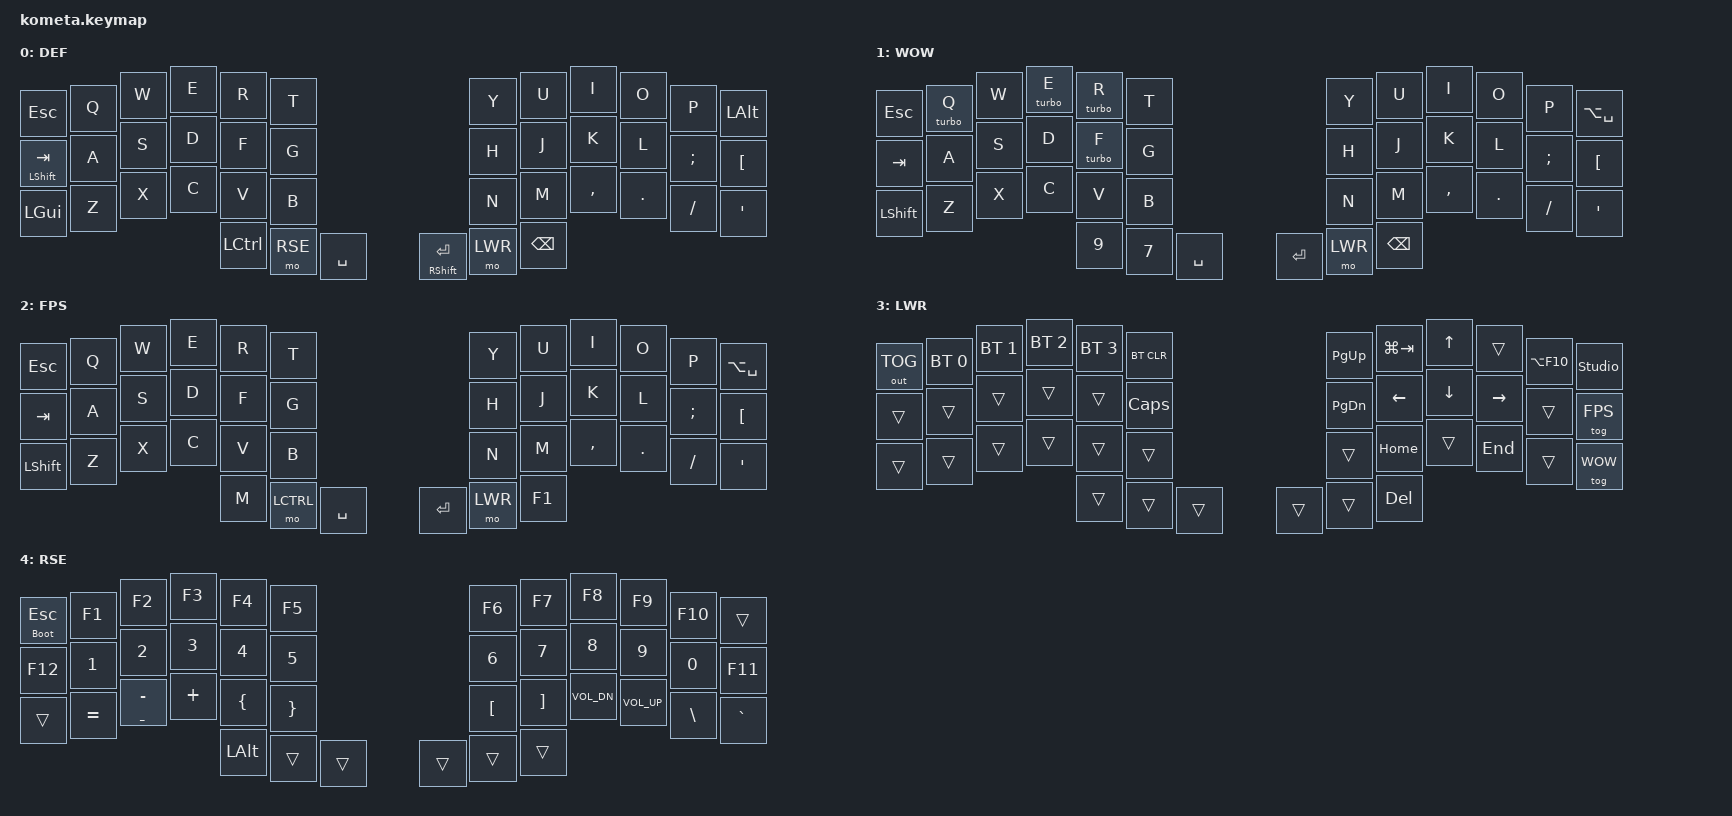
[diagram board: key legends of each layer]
 #include <behaviors.dtsi>
 #include <dt-bindings/zmk/bt.h>
 #include <dt-bindings/zmk/ext_power.h>
 #include <dt-bindings/zmk/keys.h>
 #include <dt-bindings/zmk/outputs.h>
 #include <dt-bindings/zmk/rgb.h>

 #define DEF 0
 #define WOW 1
 #define FPS 2
 #define LWR 3
 #define RSE 4

 &mt {
     flavor = "tap-preferred";
     tapping-term-ms = <140>;
 };

 / {
 };

 / {
    behaviors {
        mt: mod_tap {
            compatible = "zmk,behavior-hold-tap";
            #binding-cells = <2>;
            flavor = "hold-preferred";
            tapping-term-ms = <200>;
            bindings = <&kp>, <&kp>;
            display-name = "Mod-Tap";
        };

        hrm: hr {
            compatible = "zmk,behavior-hold-tap";
            label = "hrm";
            bindings = <&kp>, <&kp>;

            #binding-cells = <2>;
            tapping-term-ms = <200>;
            flavor = "balanced";
            quick-tap-ms = <150>;
        };

        boot_esc: boot_esc {
            compatible = "zmk,behavior-hold-tap";
            label = "boot_esc";
            /* hold: bootloader, tap: key */
            bindings = <&bootloader>, <&kp>;

            #binding-cells = <2>;
            tapping-term-ms = <3000>;
            flavor = "tap-preferred";
            quick-tap-ms = <150>;
        };
    };

    keymap {
        compatible = "zmk,keymap";
        // -----------------------------------------------------------------------------------------------------------------
        // |  ESC  |  Q   |  W   |  E   |  R   |  T   |-----------|-----------|   Y   |  U   |  I   |  O   |   P   |  LALT |
        // |  TAB  |  A   |  S   |  D   |  F   |  G   |-----------|-----------|   H   |  J   |  K   |  L   |   ;   |  LBKT |
        // | LGUI  |  Z   |  X   |  C   |  V   |  B   |-----------|-----------|   N   |  M   |  ,   |  .   |   /   |  SQT  |
        // -----------------------------|LCTRL | RSE  |  SPACE    | ENT/SHIFT | LWR   | BACKSPACE |-------------------------
        default_layer {
            label = "DEF";
            bindings = <
            &kp ESC         &kp Q  &kp W    &kp E    &kp R      &kp T                               &kp Y      &kp U         &kp I     &kp O     &kp P     &kp LALT
            &mt LSHIFT TAB  &kp A  &kp S    &kp D    &kp F      &kp G                               &kp H      &kp J         &kp K     &kp L     &kp SEMI  &kp LBKT
            &kp LGUI        &kp Z  &kp X    &kp C    &kp V      &kp B                               &kp N      &kp M         &kp COMMA &kp DOT   &kp FSLH  &kp SQT
                                                     &kp LCTRL  &mo RSE   &kp SPACE &mt RSHFT ENTER &mo LWR    &kp BACKSPACE
            >;
        };
        wow {
            label = "WOW";
            // ---------------------------------------------------------------------------------------------------------------
            // |  ESC  |  Q   |  W   |  E   |  R   |  T     |-------|-------|   Y   |  U    |  I   |  O   |   P   |  LBKT    |
            // | TAB   |  A   |  S   |  D   |  F   |  G     |-------|-------|   H   |  J    |  K   |  L   |   ;   |  SQT     |
            // | LSHFT |  Z   |  X   |  C   |  V   |  B     |-------|-------|   N   |  M    |  ,   |  .   |   /   | ENT/SHIFT|
            // -----------------------------|  N9  |  N7    | SPACE | ENTER | LOWER | BACKSPACE|-----------------------------
            bindings = <
                &kp ESC    &turbo Q  &kp W    &turbo E  &turbo R  &kp T                               &kp Y      &kp U          &kp I     &kp O     &kp P     &kp LA(SPACE)
                &kp TAB    &kp A     &kp S    &kp D     &turbo F  &kp G                               &kp H      &kp J          &kp K     &kp L     &kp SEMI  &kp LBKT
                &kp LSHFT  &kp Z     &kp X    &kp C     &kp V     &kp B                               &kp N      &kp M          &kp COMMA &kp DOT   &kp FSLH  &kp SQT
                                                        &kp N9    &kp N7 &kp SPACE          &kp ENTER &mo LWR    &kp BACKSPACE
            >;
        };        
         
        fps {
            label = "FPS";
            // ---------------------------------------------------------------------------------------------------------------
            // |  ESC  |  Q   |  W   |  E   |  R   |  T     |-------|-------|   Y   |  U    |  I   |  O   |   P   |  LBKT    |
            // | TAB   |  A   |  S   |  D   |  F   |  G     |-------|-------|   H   |  J    |  K   |  L   |   ;   |  SQT     |
            // | LSHFT |  Z   |  X   |  C   |  V   |  B     |-------|-------|   N   |  M    |  ,   |  .   |   /   | ENT/SHIFT|
            // -----------------------------|  M   |  LCTRL | SPACE | ENTER | LOWER |  F1   |---------------------------------
            bindings = <
                &kp ESC   &kp Q  &kp W    &kp E    &kp R      &kp T                           &kp Y      &kp U          &kp I     &kp O     &kp P     &kp LA(SPACE)
                &kp TAB   &kp A  &kp S    &kp D    &kp F      &kp G                           &kp H      &kp J          &kp K     &kp L     &kp SEMI  &kp LBKT
                &kp LSHFT &kp Z  &kp X    &kp C    &kp V      &kp B                           &kp N      &kp M          &kp COMMA &kp DOT   &kp FSLH  &kp SQT
                                                   &kp M      &mo LCTRL &kp SPACE &kp ENTER   &mo LWR    &kp F1
            >;
        }; 

         // ---------------------------------------------------------------------------------------------------------------------------------------
         // | OUT_TG  |   BT0   |   BT1   |   BT2   |  BT3    | BT_CLR    |-----------|-----------| PG_UP |LGUI(TAB)|  UP  |       |      |      |
         // |         |         |         |         |         | CAPSLOCK  |-----------|-----------| PG_DN |  LEFT   | DOWN | RIGHT |      |      |
         // |         |         |         |         |         |           |-----------|-----------|       |  HOME   |      |  END  |      |      |
         // ----------------------------------------|         |LGUI(SPACE)|           |           |       | DELETE  |-----------------------------
         lower_layer {
             label = "LWR";
             bindings = <
             &out OUT_TOG     &bt BT_SEL 0     &bt BT_SEL 1     &bt BT_SEL 2     &bt BT_SEL 3     &bt BT_CLR                      &kp PAGE_UP     &kp LG(TAB) &kp UP    &trans     &kp LA(F10) &studio_unlock     
             &trans           &trans           &trans           &trans           &trans           &kp CAPSLOCK                    &kp PAGE_DOWN   &kp LEFT    &kp DOWN  &kp RIGHT  &trans      &tog FPS
             &trans           &trans           &trans           &trans           &trans           &trans                          &trans          &kp HOME    &trans    &kp END    &trans      &tog WOW
                                                                                 &trans           &trans   &trans         &trans  &trans          &kp DELETE  
             >;
         };

         // --------------------------------------------------------------------------------------------------------------------------
         // |ESC/BT|  F1    |  F2    |  F3    |  F4    |  F5    |-------|-------|  F6    |  F7    |  F8    |  F9    |  F10   |       |
         // |  F12 |   N1   |   N2   |   N3   |   N4   |   N5   |-------|-------|   N6   |   N7   |   N8   |   N9   |   N0   |  F11  |
         // |      |   =    |  -/_   |   +    | LBRC   | RBRC   |-------|-------| LBKT   | RBKT   | VOL-   | VOL+   |   \    |  `    |
         // ----------------------------------|  LALT  |        |       |       |        |        |-----------------------------------
         raise_layer {
             label = "RSE";
             bindings = <
             &boot_esc 0 ESC   &kp F1    &kp F2           &kp F3   &kp F4     &kp F5                  &kp F6     &kp F7    &kp F8       &kp F9         &kp F10       &trans
             &kp F12           &kp N1    &kp N2           &kp N3   &kp N4     &kp N5                  &kp N6     &kp N7    &kp N8       &kp N9         &kp N0        &kp F11
             &trans            &kp EQUAL &mt UNDER MINUS  &kp PLUS &kp LBRC   &kp RBRC                &kp LBKT   &kp RBKT  &kp C_VOL_DN &kp C_VOL_UP   &kp BACKSLASH &kp GRAVE 
                                                                   &kp LALT   &trans  &trans   &trans &trans     &trans    
             >;
         };
     };
 };
